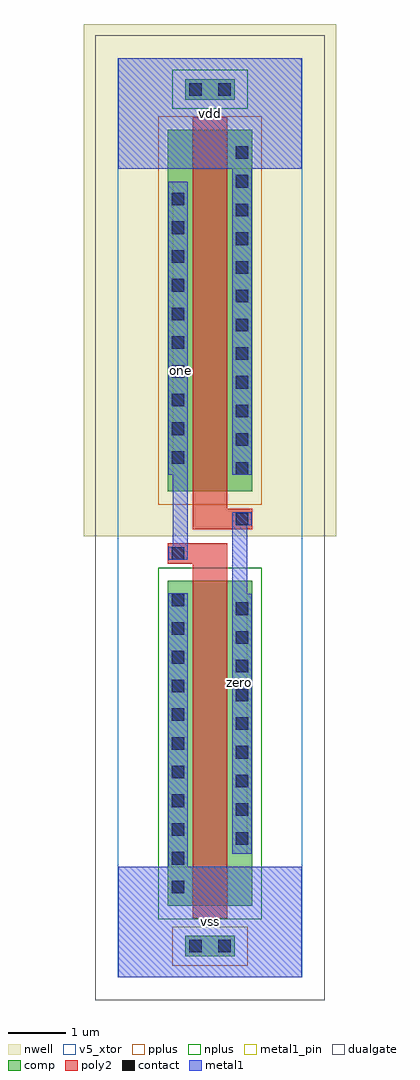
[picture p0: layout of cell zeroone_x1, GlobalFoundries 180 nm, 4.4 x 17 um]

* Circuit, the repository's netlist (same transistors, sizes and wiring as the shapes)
* zeroone_x1
.subckt zeroone_x1 vdd vss zero one
Mn vss one zero vss nfet_06v0 l=0.6um w=5.66um
Mp one zero vdd vdd pfet_06v0 l=0.6um w=6.3um
.ends zeroone_x1

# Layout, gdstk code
import gdstk
lib = gdstk.Library(unit=1e-6, precision=1e-09)
def R(c, l, rs):  # rectangles x0, y0, x1, y1
    for r in rs: c.add(gdstk.rectangle(r[:2], r[2:], *l))
def A(c, l, x, y, w, h, nx, ny, dx, dy):  # array of equal rectangles
    R(c, l, [(x+i*dx, y+j*dy, x+i*dx+w, y+j*dy+h) for i in range(nx) for j in range(ny)])
def P(c, l, *ps):  # polygons
    for p in ps: c.add(gdstk.Polygon(p, *l))
nwell = (21, 0)
comp = (22, 0)
poly2 = (30, 0)
pplus = (31, 0)
nplus = (32, 0)
contact = (33, 0)
metal1 = (34, 0)
metal1_pin = (34, 10)
dualgate = (55, 0)
v5_xtor = (112, 1)

zeroone_x1 = lib.new_cell('zeroone_x1')
R(zeroone_x1, nwell, [(-0.6,7.68,3.8,16.6)])
R(zeroone_x1, comp, [(1.17,0.36,2.03,0.72), (0.86,1.24,2.34,6.9), (0.86,8.46,2.34,14.76), (1.17,15.28,2.03,15.64)])
P(zeroone_x1, poly2, [(1.3,7.8),(1.3,14.98),(1.9,14.98),(1.9,8.16),(2.34,8.16),(2.34,7.8)],
  [(1.3,1.02),(1.3,7.2),(0.86,7.2),(0.86,7.56),(1.9,7.56),(1.9,1.02)])
R(zeroone_x1, pplus, [(0.94,0.2,2.26,0.88), (0.7,8.23,2.5,14.99)])
R(zeroone_x1, nplus, [(0.7,1.01,2.5,7.13), (0.94,15.12,2.26,15.8)])
A(zeroone_x1, contact, 0.93, 1.46, 0.22, 0.22, 1, 11, 0, 0.5)
A(zeroone_x1, contact, 2.05, 2.305, 0.22, 0.22, 1, 9, 0, 0.5)
A(zeroone_x1, contact, 2.05, 8.75, 0.22, 0.22, 1, 12, 0, 0.5)
A(zeroone_x1, contact, 0.93, 8.94, 0.22, 0.22, 1, 10, 0, 0.5)
R(zeroone_x1, contact, [(1.24,0.43,1.46,0.65), (1.74,0.43,1.96,0.65), (0.93,7.27,1.15,7.49), (2.05,7.87,2.27,8.09), (1.24,15.35,1.46,15.57), (1.74,15.35,1.96,15.57)])
P(zeroone_x1, metal1, [(1.99,8.745),(1.99,14.08),(0,14.08),(0,16),(3.2,16),(3.2,14.08),(2.33,14.08),(2.33,8.745)],
  [(0,0),(0,1.92),(0.87,1.92),(0.87,6.685),(1.21,6.685),(1.21,1.92),(3.2,1.92),(3.2,0)],
  [(1.99,2.15),(1.99,8.095),(2.33,8.095),(2.33,7.865),(2.25,7.865),(2.25,6.68),(2.33,6.68),(2.33,2.15)],
  [(0.87,7.265),(0.87,7.495),(0.95,7.495),(0.95,8.75),(0.87,8.75),(0.87,13.85),(1.21,13.85),(1.21,7.265)])
R(zeroone_x1, metal1_pin, [(0,0,3.2,1.92), (1.99,2.15,2.25,8.095), (0.95,7.265,1.21,13.85), (0,14.08,3.2,16)])
R(zeroone_x1, dualgate, [(-0.4,-0.4,3.6,16.4)])
R(zeroone_x1, v5_xtor, [(-0.005,-0.005,3.205,16.005)])
zeroone_x1.add(gdstk.Label('vdd', (1.6,15.04), layer=34, texttype=10))
zeroone_x1.add(gdstk.Label('vss', (1.6,0.96), layer=34, texttype=10))
zeroone_x1.add(gdstk.Label('zero', (2.12,5.123), layer=34, texttype=10))
zeroone_x1.add(gdstk.Label('one', (1.08,10.558), layer=34, texttype=10))

lib.write_gds('zeroone_x1.gds')
